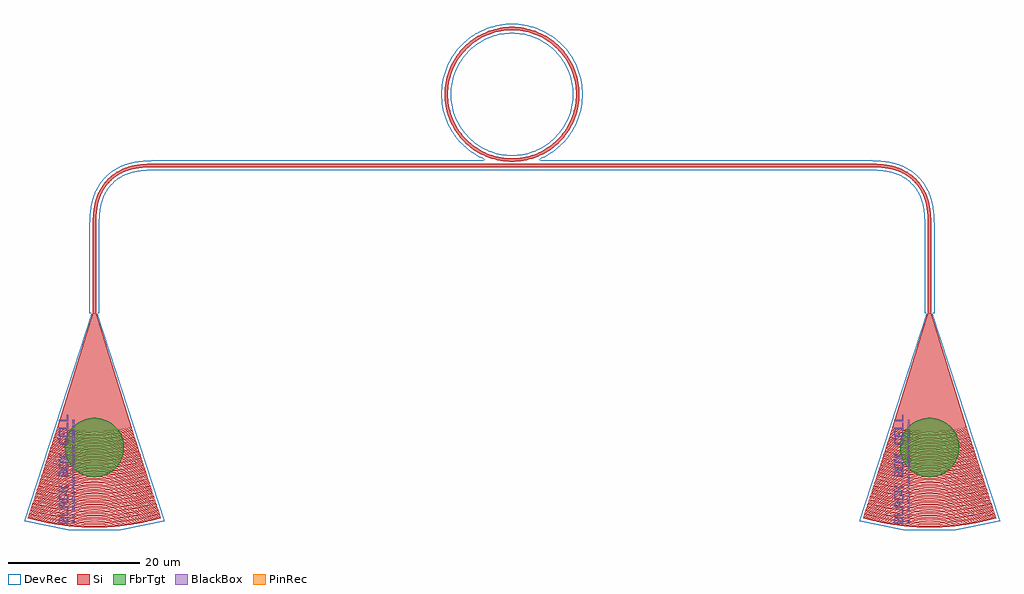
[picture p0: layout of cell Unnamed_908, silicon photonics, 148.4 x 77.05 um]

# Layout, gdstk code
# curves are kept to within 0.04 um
from math import pi, radians
import gdstk
lib = gdstk.Library(unit=1e-6, precision=1e-09)
def R(c, l, rs):  # rectangles x0, y0, x1, y1
    for r in rs: c.add(gdstk.rectangle(r[:2], r[2:], *l))
def P(c, l, *ps):  # polygons
    for p in ps: c.add(gdstk.Polygon(p, *l))
Si = (1, 0)
PinRec = (1, 10)
DevRec = (68, 0)
FbrTgt = (81, 0)
BlackBox = (998, 0)

unnamed_906 = lib.new_cell('Unnamed_906')
R(unnamed_906, Si, [(0,-0.25,20,0.25)])
P(unnamed_906, Si, [(10,0.55),(9.107,0.589),(7.781,0.793),(6.077,1.33),(4.493,2.155),(3.411,2.948),(2.752,3.552),(2.148,4.211),(1.355,5.293),(0.53,6.877),(-0.007,8.581),(-0.211,9.907),(-0.25,10.8),(-0.211,11.693),(-0.007,13.019),(0.53,14.723),(1.123,15.925),(1.604,16.679),(2.148,17.389),(3.075,18.357),(3.76,18.932),(4.875,19.677),(5.668,20.09),(6.841,20.55),(10,20.55),(8.727,20.467),(7.477,20.218),(6.269,19.808),(5.125,19.244),(4.408,18.787),(3.413,17.988),(2.531,17.067),(1.777,16.039),(1.163,14.921),(0.701,13.732),(0.398,12.493),(0.287,11.65),(0.259,10.375),(0.333,9.527),(0.582,8.277),(0.992,7.069),(1.556,5.925),(2.013,5.208),(2.812,4.213),(3.733,3.331),(4.761,2.577),(5.879,1.963),(7.068,1.501),(8.307,1.198),(9.575,1.059),(10.425,1.059),(11.693,1.198),(12.932,1.501),(14.121,1.963),(14.875,2.356),(15.935,3.065),(16.894,3.906),(17.987,5.208),(18.648,6.298),(19.299,7.868),(19.602,9.107),(19.741,10.375),(19.667,12.073),(19.418,13.323),(19.008,14.531),(18.223,16.039),(17.188,17.387),(16.267,18.269),(15.592,18.787),(14.121,19.637),(12.932,20.099),(11.273,20.467),(10,20.55),(6.841,20.55),(8.22,20.894),(10,21.05),(10.893,21.011),(12.219,20.807),(13.923,20.27),(15.507,19.445),(16.589,18.652),(17.248,18.048),(17.852,17.389),(18.645,16.307),(19.47,14.723),(20.007,13.019),(20.211,11.693),(20.25,10.8),(20.211,9.907),(20.007,8.581),(19.47,6.877),(18.645,5.293),(17.852,4.211),(17.248,3.552),(16.589,2.948),(15.507,2.155),(13.923,1.33),(12.219,0.793),(10.893,0.589)])
P(unnamed_906, DevRec, [(0,-0.75),(0,0.75),(6.189,0.75),(5.036,1.265),(3.834,1.994),(2.737,2.874),(2.074,3.537),(1.471,4.256),(0.69,5.425),(0.068,6.686),(-0.384,8.018),(-0.587,8.933),(-0.74,10.331),(-0.709,11.737),(-0.495,13.127),(-0.102,14.477),(0.257,15.343),(0.934,16.576),(1.765,17.71),(2.399,18.401),(3.09,19.035),(4.526,20.05),(10,20.05),(9.194,20.015),(7.998,19.831),(6.46,19.346),(5.375,18.811),(4.694,18.377),(3.459,17.341),(2.423,16.106),(1.989,15.425),(1.454,14.34),(1.065,13.194),(0.891,12.406),(0.785,11.606),(0.759,10.397),(0.829,9.593),(1.065,8.406),(1.454,7.26),(1.795,6.529),(2.661,5.169),(3.459,4.259),(4.054,3.714),(5.375,2.789),(6.46,2.254),(7.218,1.978),(7.998,1.769),(9.194,1.585),(10.806,1.585),(12.002,1.769),(12.782,1.978),(13.54,2.254),(14.625,2.789),(15.631,3.461),(16.249,3.98),(17.086,4.854),(17.577,5.494),(18.011,6.175),(18.546,7.26),(18.935,8.406),(19.171,9.593),(19.25,10.8),(19.215,11.606),(19.031,12.802),(18.822,13.582),(18.546,14.34),(18.011,15.425),(17.086,16.746),(16.541,17.341),(15.631,18.139),(14.625,18.811),(13.909,19.183),(12.394,19.735),(10.806,20.015),(4.526,20.05),(5.886,20.732),(6.767,21.052),(7.673,21.295),(8.597,21.458),(9.531,21.54),(10.937,21.509),(11.867,21.387),(12.782,21.184),(14.114,20.732),(15.375,20.11),(16.166,19.606),(16.91,19.035),(17.926,18.063),(18.806,16.966),(19.535,15.764),(20.102,14.477),(20.495,13.127),(20.709,11.737),(20.74,10.331),(20.587,8.933),(20.252,7.567),(19.743,6.257),(19.066,5.024),(18.235,3.89),(17.263,2.874),(16.166,1.994),(14.964,1.265),(13.811,0.75),(20,0.75),(20,-0.75)])

gc_te1550 = lib.new_cell('gc_te1550')
P(gc_te1550, Si, [(17.378,-5.646),(0,-0.25),(0,0.25),(17.378,5.646),(17.678,4.303),(17.903,2.893),(18.043,1.42),(18.087,0.114),(18.05,-1.306),(17.924,-2.724),(17.678,-4.303)],
  [(17.556,-5.704),(17.481,-5.68),(17.643,-5.006),(17.784,-4.329),(17.922,-3.536),(18.032,-2.74),(18.104,-2.056),(18.148,-1.486),(18.186,-0.686),(18.196,-0.114),(18.189,0.572),(18.165,1.2),(18.123,1.828),(18.058,2.512),(17.948,3.365),(17.826,4.102),(17.668,4.893),(17.481,5.68),(17.556,5.704),(17.743,4.914),(17.881,4.233),(18.016,3.437),(18.095,2.866),(18.165,2.237),(18.222,1.549),(18.256,0.918),(18.274,0.115),(18.264,-0.689),(18.233,-1.377),(18.176,-2.122),(18.095,-2.866),(18.016,-3.437),(17.881,-4.233),(17.743,-4.914)],
  [(17.906,-5.818),(17.659,-5.738),(17.932,-4.544),(18.188,-2.998),(18.338,-1.443),(18.383,-0.116),(18.338,1.443),(18.188,2.998),(17.932,4.544),(17.659,5.738),(17.906,5.818),(18.207,4.492),(18.452,2.982),(18.601,1.405),(18.643,0.117),(18.601,-1.405),(18.452,-2.982),(18.207,-4.492)],
  [(18.084,-5.876),(18.01,-5.852),(18.204,-5.041),(18.368,-4.227),(18.503,-3.409),(18.609,-2.589),(18.713,-1.354),(18.745,-0.589),(18.752,-0.118),(18.745,0.589),(18.713,1.354),(18.609,2.589),(18.503,3.409),(18.368,4.227),(18.204,5.041),(18.01,5.852),(18.084,5.876),(18.24,5.237),(18.4,4.479),(18.525,3.776),(18.629,3.071),(18.717,2.305),(18.772,1.656),(18.811,0.946),(18.83,0.118),(18.823,-0.592),(18.791,-1.36),(18.739,-2.069),(18.644,-2.953),(18.544,-3.658),(18.4,-4.479),(18.24,-5.237)],
  [(18.435,-5.99),(18.188,-5.91),(18.517,-4.445),(18.744,-3.029),(18.896,-1.427),(18.939,-0.119),(18.896,1.427),(18.759,2.911),(18.517,4.445),(18.188,5.91),(18.435,5.99),(18.77,4.506),(19.001,3.071),(19.135,1.748),(19.199,0.121),(19.159,-1.387),(19.001,-3.071),(18.77,-4.506)],
  [(18.613,-6.048),(18.539,-6.024),(18.713,-5.309),(18.876,-4.532),(19.013,-3.751),(19.131,-2.907),(19.203,-2.242),(19.264,-1.455),(19.291,-0.91),(19.308,-0.121),(19.299,0.667),(19.271,1.334),(19.239,1.819),(19.166,2.605),(19.076,3.329),(18.91,4.352),(18.753,5.13),(18.539,6.024),(18.613,6.048),(18.815,5.211),(18.963,4.49),(19.099,3.705),(19.201,2.979),(19.269,2.373),(19.338,1.522),(19.369,0.913),(19.386,0.122),(19.377,-0.67),(19.349,-1.339),(19.286,-2.191),(19.201,-2.979),(19.099,-3.705),(18.963,-4.49),(18.815,-5.211)],
  [(18.964,-6.162),(18.717,-6.081),(19.046,-4.636),(19.301,-3.057),(19.43,-1.775),(19.495,-0.122),(19.454,1.408),(19.301,3.057),(19.046,4.636),(18.717,6.081),(18.964,6.162),(19.262,4.881),(19.533,3.283),(19.689,1.799),(19.755,0.124),(19.717,-1.365),(19.573,-2.974),(19.334,-4.513)],
  [(19.142,-6.22),(19.068,-6.195),(19.289,-5.277),(19.44,-4.538),(19.587,-3.673),(19.696,-2.866),(19.772,-2.12),(19.822,-1.435),(19.853,-0.749),(19.864,-0.125),(19.853,0.749),(19.822,1.435),(19.772,2.12),(19.696,2.866),(19.587,3.673),(19.44,4.538),(19.289,5.277),(19.068,6.195),(19.142,6.22),(19.337,5.421),(19.48,4.742),(19.625,3.936),(19.726,3.251),(19.808,2.566),(19.884,1.691),(19.924,0.94),(19.942,0.125),(19.934,-0.626),(19.9,-1.44),(19.833,-2.316),(19.758,-3.002),(19.635,-3.874),(19.516,-4.556),(19.337,-5.421)],
  [(19.493,-6.334),(19.246,-6.253),(19.574,-4.829),(19.842,-3.207),(19.997,-1.637),(20.051,-0.126),(20.005,1.511),(19.866,3.019),(19.622,4.581),(19.246,6.253),(19.493,6.334),(19.839,4.829),(20.107,3.185),(20.256,1.658),(20.311,0.128),(20.268,-1.467),(20.107,-3.185),(19.839,-4.829)],
  [(19.671,-6.391),(19.597,-6.367),(19.797,-5.55),(20.005,-4.538),(20.153,-3.648),(20.246,-2.946),(20.325,-2.179),(20.373,-1.539),(20.404,-0.898),(20.42,-0.128),(20.412,0.641),(20.384,1.347),(20.336,2.051),(20.261,2.819),(20.153,3.648),(20.017,4.474),(19.825,5.424),(19.597,6.367),(19.671,6.391),(19.843,5.697),(20.008,4.937),(20.149,4.173),(20.283,3.278),(20.379,2.444),(20.438,1.738),(20.482,0.901),(20.498,0.129),(20.482,-0.901),(20.438,-1.738),(20.379,-2.444),(20.283,-3.278),(20.149,-4.173),(20.008,-4.937),(19.843,-5.697)],
  [(20.022,-6.505),(19.774,-6.425),(20.139,-4.835),(20.382,-3.36),(20.542,-1.812),(20.607,-0.129),(20.567,1.424),(20.399,3.231),(20.139,4.835),(19.774,6.425),(20.022,6.505),(20.392,4.896),(20.656,3.272),(20.81,1.704),(20.867,0.131),(20.81,-1.704),(20.656,-3.272),(20.392,-4.896)],
  [(20.199,-6.563),(20.125,-6.539),(20.347,-5.635),(20.523,-4.791),(20.67,-3.943),(20.804,-2.961),(20.878,-2.239),(20.923,-1.647),(20.962,-0.857),(20.976,-0.132),(20.966,0.725),(20.935,1.449),(20.878,2.239),(20.804,2.961),(20.67,3.943),(20.523,4.791),(20.347,5.635),(20.125,6.539),(20.199,6.563),(20.437,5.591),(20.599,4.809),(20.726,4.089),(20.832,3.367),(20.931,2.511),(20.992,1.785),(21.04,0.86),(21.054,0.132),(21.044,-0.728),(21.001,-1.653),(20.931,-2.511),(20.849,-3.235),(20.726,-4.089),(20.599,-4.809),(20.437,-5.591)],
  [(20.55,-6.677),(20.303,-6.597),(20.705,-4.833),(20.957,-3.252),(21.105,-1.728),(21.163,-0.133),(21.105,1.728),(20.957,3.252),(20.705,4.833),(20.303,6.597),(20.55,6.677),(20.906,5.158),(21.205,3.359),(21.355,1.883),(21.423,0.135),(21.373,-1.615),(21.205,-3.359),(20.906,-5.158)],
  [(20.728,-6.735),(20.654,-6.711),(20.868,-5.85),(21.025,-5.118),(21.195,-4.181),(21.33,-3.241),(21.412,-2.5),(21.473,-1.758),(21.515,-0.947),(21.532,-0.135),(21.525,0.609),(21.497,1.352),(21.448,2.095),(21.37,2.904),(21.237,3.913),(21.077,4.85),(20.868,5.85),(20.654,6.711),(20.728,6.735),(20.912,6.004),(21.101,5.136),(21.249,4.331),(21.372,3.523),(21.483,2.577),(21.546,1.832),(21.593,0.95),(21.61,0.136),(21.593,-0.95),(21.555,-1.696),(21.483,-2.577),(21.39,-3.388),(21.249,-4.331),(21.101,-5.136),(20.912,-6.004)],
  [(21.079,-6.849),(20.832,-6.769),(21.207,-5.162),(21.47,-3.608),(21.664,-1.705),(21.719,-0.136),(21.664,1.705),(21.515,3.269),(21.207,5.162),(20.832,6.769),(21.079,6.849),(21.432,5.359),(21.736,3.583),(21.923,1.725),(21.979,0.138),(21.923,-1.725),(21.772,-3.308),(21.473,-5.155)],
  [(21.257,-6.907),(21.183,-6.883),(21.419,-5.932),(21.606,-5.044),(21.773,-4.083),(21.888,-3.256),(21.971,-2.495),(22.036,-1.665),(22.073,-0.902),(22.088,-0.139),(22.081,0.624),(22.052,1.387),(22.001,2.149),(21.905,3.117),(21.773,4.083),(21.606,5.044),(21.419,5.932),(21.183,6.883),(21.257,6.907),(21.494,5.953),(21.655,5.199),(21.817,4.304),(21.93,3.544),(22.042,2.574),(22.105,1.81),(22.146,1.044),(22.166,0.139),(22.159,-0.627),(22.114,-1.67),(22.042,-2.574),(21.957,-3.336),(21.817,-4.304),(21.655,-5.199),(21.494,-5.953)],
  [(21.608,-7.021),(21.361,-6.941),(21.761,-5.224),(22.028,-3.631),(22.218,-1.749),(22.275,-0.14),(22.227,1.609),(22.073,3.283),(21.788,5.086),(21.361,6.941),(21.608,7.021),(21.985,5.425),(22.294,3.603),(22.482,1.698),(22.535,0.142),(22.482,-1.698),(22.294,-3.603),(21.985,-5.425)],
  [(21.786,-7.079),(21.712,-7.055),(21.922,-6.22),(22.161,-5.1),(22.308,-4.256),(22.447,-3.267),(22.53,-2.487),(22.586,-1.778),(22.626,-0.996),(22.644,-0.142),(22.635,0.711),(22.595,1.635),(22.53,2.487),(22.447,3.267),(22.308,4.256),(22.161,5.1),(21.922,6.22),(21.712,7.055),(21.786,7.079),(21.964,6.381),(22.167,5.469),(22.302,4.765),(22.469,3.704),(22.565,2.923),(22.649,1.997),(22.704,0.999),(22.722,0.143),(22.713,-0.714),(22.677,-1.57),(22.601,-2.567),(22.488,-3.562),(22.374,-4.341),(22.195,-5.329),(22.03,-6.101)],
  [(22.137,-7.193),(21.89,-7.112),(22.287,-5.425),(22.596,-3.579),(22.777,-1.721),(22.831,-0.143),(22.777,1.721),(22.596,3.579),(22.287,5.425),(21.89,7.112),(22.137,7.193),(22.54,5.486),(22.843,3.692),(23.011,2.102),(23.091,0.145),(23.045,-1.595),(22.862,-3.547),(22.54,-5.486)],
  [(22.315,-7.25),(22.24,-7.226),(22.457,-6.372),(22.646,-5.512),(22.843,-4.432),(22.979,-3.492),(23.076,-2.621),(23.145,-1.748),(23.184,-0.947),(23.2,-0.146),(23.194,0.583),(23.158,1.53),(23.102,2.33),(23.006,3.274),(22.899,4.071),(22.73,5.081),(22.507,6.157),(22.24,7.226),(22.315,7.25),(22.549,6.321),(22.736,5.458),(22.895,4.592),(23.047,3.576),(23.139,2.776),(23.218,1.827),(23.262,0.951),(23.278,0.146),(23.262,-0.951),(23.218,-1.827),(23.139,-2.776),(23.047,-3.576),(22.895,-4.592),(22.736,-5.458),(22.549,-6.321)],
  [(22.666,-7.364),(22.418,-7.284),(22.842,-5.484),(23.145,-3.666),(23.311,-2.056),(23.387,-0.147),(23.336,1.689),(23.145,3.666),(22.842,5.484),(22.418,7.284),(22.666,7.364),(23.095,5.545),(23.392,3.78),(23.581,1.93),(23.647,0.149),(23.586,-1.856),(23.421,-3.559),(23.095,-5.545)],
  [(22.843,-7.422),(22.769,-7.398),(22.992,-6.523),(23.201,-5.57),(23.389,-4.538),(23.538,-3.501),(23.642,-2.535),(23.704,-1.716),(23.742,-0.895),(23.756,-0.149),(23.742,0.895),(23.704,1.716),(23.642,2.535),(23.565,3.278),(23.401,4.464),(23.23,5.423),(22.992,6.523),(22.769,7.398),(22.843,7.422),(23.067,6.545),(23.262,5.662),(23.441,4.701),(23.556,3.959),(23.691,2.842),(23.762,2.02),(23.815,1.048),(23.834,0.15),(23.82,-0.898),(23.782,-1.721),(23.713,-2.618),(23.606,-3.587),(23.441,-4.701),(23.277,-5.588),(23.067,-6.545)],
  [(23.194,-7.536),(22.947,-7.456),(23.368,-5.688),(23.684,-3.827),(23.876,-1.955),(23.943,-0.15),(23.886,1.804),(23.704,3.678),(23.383,5.614),(22.947,7.456),(23.194,7.536),(23.605,5.824),(23.951,3.793),(24.135,1.976),(24.203,0.152),(24.15,-1.748),(23.961,-3.718),(23.605,-5.824)],
  [(23.372,-7.594),(23.298,-7.57),(23.562,-6.525),(23.801,-5.399),(23.971,-4.417),(24.088,-3.583),(24.188,-2.67),(24.249,-1.908),(24.295,-0.993),(24.312,-0.153),(24.3,0.84),(24.263,1.68),(24.195,2.594),(24.088,3.583),(23.971,4.417),(23.801,5.399),(23.562,6.525),(23.298,7.57),(23.372,7.594),(23.602,6.696),(23.802,5.793),(23.96,4.962),(24.115,3.975),(24.219,3.137),(24.316,2.067),(24.373,0.996),(24.39,0.153),(24.373,-0.996),(24.316,-2.067),(24.219,-3.137),(24.115,-3.975),(23.96,-4.962),(23.802,-5.793),(23.602,-6.696)],
  [(23.723,-7.708),(23.476,-7.628),(23.908,-5.819),(24.233,-3.916),(24.43,-2),(24.499,-0.154),(24.43,2),(24.233,3.916),(23.908,5.819),(23.476,7.628),(23.723,7.708),(24.145,5.957),(24.479,4.035),(24.678,2.176),(24.759,0.156),(24.709,-1.71),(24.5,-3.88),(24.145,-5.957)],
  [(23.901,-7.766),(23.827,-7.742),(24.098,-6.674),(24.313,-5.676),(24.493,-4.672),(24.638,-3.665),(24.733,-2.809),(24.803,-1.952),(24.848,-1.094),(24.868,-0.156),(24.858,0.781),(24.818,1.718),(24.733,2.809),(24.638,3.665),(24.493,4.672),(24.313,5.676),(24.098,6.674),(23.827,7.742),(23.901,7.766),(24.137,6.848),(24.358,5.848),(24.518,4.997),(24.674,3.987),(24.779,3.13),(24.87,2.115),(24.916,1.332),(24.946,0.157),(24.931,-0.94),(24.891,-1.802),(24.803,-2.896),(24.695,-3.832),(24.531,-4.92),(24.358,-5.848),(24.137,-6.848)],
  [(24.252,-7.88),(24.005,-7.8),(24.464,-5.873),(24.782,-4.005),(24.973,-2.202),(25.055,-0.157),(25.009,1.652),(24.803,3.848),(24.464,5.873),(24.005,7.8),(24.252,7.88),(24.717,5.934),(25.049,3.967),(25.232,2.225),(25.315,0.159),(25.259,-1.828),(25.07,-3.809),(24.717,-5.934)],
  [(24.43,-7.938),(24.356,-7.914),(24.634,-6.822),(24.839,-5.881),(25,-5.014),(25.178,-3.826),(25.278,-2.952),(25.352,-2.075),(25.397,-1.278),(25.424,-0.16),(25.409,0.958),(25.377,1.677),(25.293,2.792),(25.198,3.667),(25.052,4.697),(24.839,5.881),(24.634,6.822),(24.356,7.914),(24.43,7.938),(24.709,6.843),(24.866,6.135),(25.049,5.187),(25.234,3.997),(25.339,3.12),(25.424,2.162),(25.478,1.202),(25.502,0.16),(25.489,-0.881),(25.435,-2.002),(25.339,-3.12),(25.234,-3.997),(25.049,-5.187),(24.866,-6.135),(24.709,-6.843)],
  [(24.781,-8.052),(24.533,-7.971),(24.972,-6.161),(25.308,-4.253),(25.544,-2.01),(25.611,-0.161),(25.544,2.01),(25.352,3.934),(25.021,5.924),(24.533,7.971),(24.781,8.052),(25.241,6.144),(25.576,4.216),(25.803,2.031),(25.871,0.163),(25.803,-2.031),(25.609,-3.974),(25.274,-5.984)],
  [(24.959,-8.11),(24.884,-8.085),(25.15,-7.051),(25.38,-6.009),(25.572,-4.961),(25.738,-3.828),(25.846,-2.853),(25.917,-1.958),(25.967,-0.898),(25.98,-0.163),(25.967,0.898),(25.932,1.713),(25.868,2.609),(25.768,3.585),(25.624,4.638),(25.412,5.848),(25.207,6.811),(24.884,8.085),(24.959,8.11),(25.187,7.232),(25.423,6.188),(25.635,5.057),(25.772,4.165),(25.891,3.188),(25.984,2.127),(26.03,1.31),(26.058,0.164),(26.045,-0.9),(25.995,-1.964),(25.891,-3.188),(25.794,-4.002),(25.635,-5.057),(25.423,-6.188),(25.187,-7.232)],
  [(25.31,-8.224),(25.062,-8.143),(25.512,-6.295),(25.868,-4.264),(26.098,-2.054),(26.167,-0.164),(26.123,1.644),(25.923,3.856),(25.562,6.052),(25.062,8.143),(25.31,8.224),(25.815,6.112),(26.136,4.224),(26.357,2.074),(26.427,0.166),(26.368,-1.909),(26.18,-3.894),(25.815,-6.112)],
  [(25.487,-8.281),(25.413,-8.257),(25.686,-7.201),(25.921,-6.137),(26.118,-5.067),(26.288,-3.91),(26.374,-3.164),(26.466,-2.083),(26.511,-1.25),(26.536,-0.167),(26.525,0.834),(26.482,1.833),(26.406,2.831),(26.288,3.91),(26.118,5.067),(25.921,6.137),(25.686,7.201),(25.413,8.257),(25.487,8.281),(25.761,7.222),(25.946,6.402),(26.152,5.33),(26.321,4.254),(26.451,3.173),(26.532,2.256),(26.589,1.254),(26.614,0.167),(26.598,-1.003),(26.538,-2.172),(26.451,-3.173),(26.321,-4.254),(26.152,-5.33),(25.946,-6.402),(25.761,-7.222)],
  [(25.838,-8.395),(25.591,-8.315),(26.086,-6.263),(26.44,-4.188),(26.658,-2.014),(26.723,-0.168),(26.658,2.014),(26.44,4.188),(26.086,6.263),(25.591,8.315),(25.838,8.395),(26.339,6.323),(26.685,4.312),(26.887,2.456),(26.983,0.17),(26.917,-2.033),(26.708,-4.144),(26.356,-6.24)],
  [(26.016,-8.453),(25.942,-8.429),(26.261,-7.184),(26.479,-6.181),(26.664,-5.173),(26.838,-3.992),(26.943,-3.06),(27.026,-2.042),(27.078,-0.936),(27.092,-0.085),(27.078,0.936),(27.026,2.042),(26.943,3.06),(26.838,3.992),(26.664,5.173),(26.479,6.181),(26.261,7.184),(25.942,8.429),(26.016,8.453),(26.256,7.539),(26.503,6.451),(26.697,5.441),(26.858,4.427),(26.976,3.494),(27.086,2.303),(27.144,1.28),(27.17,0.085),(27.156,-0.939),(27.098,-2.133),(27.012,-3.154),(26.893,-4.173),(26.726,-5.272),(26.538,-6.283),(26.256,-7.539)],
  [(26.367,-8.567),(26.12,-8.487),(26.644,-6.308),(26.989,-4.275),(27.218,-1.97),(27.279,-0.086),(27.218,1.97),(26.989,4.275),(26.644,6.308),(26.12,8.487),(26.367,8.567),(26.897,6.368),(27.246,4.315),(27.466,2.162),(27.539,0.087),(27.466,-2.162),(27.246,-4.315),(26.897,-6.368)],
  [(26.545,-8.625),(26.471,-8.601),(26.777,-7.416),(27.003,-6.393),(27.195,-5.365),(27.365,-4.246),(27.487,-3.209),(27.586,-1.997),(27.634,-0.955),(27.648,-0.087),(27.634,0.955),(27.586,1.997),(27.52,2.863),(27.42,3.815),(27.265,4.935),(27.071,6.051),(26.817,7.246),(26.63,8.01),(26.471,8.601),(26.545,8.625),(26.832,7.522),(27.079,6.411),(27.286,5.294),(27.442,4.258),(27.573,3.132),(27.658,2.089),(27.712,0.958),(27.726,0.087),(27.712,-0.958),(27.658,-2.089),(27.573,-3.132),(27.442,-4.258),(27.286,-5.294),(27.079,-6.411),(26.832,-7.522)],
  [(26.896,-8.739),(26.649,-8.659),(27.185,-6.436),(27.55,-4.275),(27.761,-2.185),(27.835,-0.087),(27.761,2.185),(27.55,4.275),(27.185,6.436),(26.649,8.659),(26.896,8.739),(27.402,6.67),(27.783,4.49),(28.014,2.293),(28.095,0.088),(28.026,-2.117),(27.807,-4.315),(27.438,-6.496)],
  [(27.074,-8.797),(27,-8.773),(27.292,-7.651),(27.544,-6.521),(27.77,-5.297),(27.949,-4.067),(28.048,-3.186),(28.129,-2.214),(28.184,-1.152),(28.204,-0.089),(28.187,1.063),(28.146,1.948),(28.073,2.921),(27.949,4.067),(27.77,5.297),(27.544,6.521),(27.292,7.651),(27,8.773),(27.074,8.797),(27.346,7.759),(27.602,6.627),(27.802,5.576),(27.955,4.608),(28.098,3.46),(28.194,2.397),(28.255,1.332),(28.282,0.089),(28.265,-1.066),(28.218,-2.042),(28.134,-3.106),(28.015,-4.167),(27.832,-5.4),(27.62,-6.539),(27.346,-7.759)],
  [(27.425,-8.911),(27.177,-8.83),(27.708,-6.652),(28.075,-4.537),(28.309,-2.317),(28.391,-0.089),(28.309,2.317),(28.075,4.537),(27.708,6.652),(27.177,8.83),(27.425,8.911),(27.979,6.624),(28.344,4.489),(28.568,2.339),(28.651,0.09),(28.568,-2.339),(28.344,-4.489),(27.979,-6.624)],
  [(27.603,-8.969),(27.528,-8.944),(27.806,-7.889),(28.085,-6.649),(28.316,-5.402),(28.476,-4.327),(28.582,-3.428),(28.677,-2.348),(28.736,-1.265),(28.76,-0.09),(28.748,0.903),(28.695,2.077),(28.609,3.158),(28.499,4.147),(28.331,5.312),(28.121,6.472),(27.87,7.624),(27.528,8.944),(27.603,8.969),(27.881,7.91),(28.124,6.845),(28.347,5.685),(28.529,4.518),(28.678,3.257),(28.761,2.264),(28.814,1.268),(28.838,0.091),(28.826,-0.906),(28.761,-2.264),(28.678,-3.257),(28.529,-4.518),(28.347,-5.685),(28.124,-6.845),(27.881,-7.91)],
  [(27.953,-9.083),(27.706,-9.002),(28.23,-6.871),(28.624,-4.626),(28.863,-2.363),(28.947,-0.091),(28.887,2),(28.649,4.445),(28.23,6.871),(27.706,9.002),(27.953,9.083),(28.52,6.752),(28.893,4.576),(29.135,2.201),(29.207,0.092),(29.135,-2.201),(28.918,-4.394),(28.52,-6.752)],
  [(28.131,-9.14),(28.057,-9.116),(28.363,-7.951),(28.663,-6.596),(28.892,-5.323),(29.061,-4.136),(29.179,-3.036),(29.255,-2.025),(29.301,-1.013),(29.316,-0.092),(29.301,1.013),(29.255,2.025),(29.179,3.036),(29.061,4.136),(28.892,5.323),(28.663,6.596),(28.363,7.951),(28.057,9.116),(28.131,9.14),(28.416,8.062),(28.645,7.068),(28.86,5.977),(29.078,4.605),(29.221,3.412),(29.315,2.307),(29.373,1.2),(29.394,0.092),(29.373,-1.2),(29.315,-2.307),(29.221,-3.412),(29.078,-4.605),(28.86,-5.977),(28.645,-7.068),(28.416,-8.062)],
  [(28.482,-9.254),(28.235,-9.174),(28.77,-7.003),(29.173,-4.714),(29.424,-2.316),(29.503,-0.093),(29.424,2.316),(29.173,4.714),(28.77,7.003),(28.235,9.174),(28.482,9.254),(29.003,7.156),(29.416,4.849),(29.683,2.336),(29.763,0.094),(29.683,-2.336),(29.455,-4.57),(29.042,-6.972)],
  [(28.66,-9.312),(28.586,-9.288),(28.898,-8.101),(29.148,-6.998),(29.393,-5.703),(29.563,-4.587),(29.696,-3.467),(29.798,-2.251),(29.847,-1.314),(29.872,-0.094),(29.862,0.845),(29.798,2.251),(29.696,3.467),(29.563,4.587),(29.393,5.703),(29.148,6.998),(28.898,8.101),(28.586,9.288),(28.66,9.312),(28.928,8.306),(29.224,7.016),(29.421,5.996),(29.601,4.879),(29.733,3.851),(29.863,2.445),(29.925,1.317),(29.95,0.094),(29.937,-0.941),(29.882,-2.163),(29.792,-3.289),(29.64,-4.599),(29.437,-5.904),(29.224,-7.016),(28.928,-8.306)],
  [(29.011,-9.426),(28.764,-9.346),(29.33,-7.041),(29.735,-4.709),(29.978,-2.359),(30.059,-0.094),(29.978,2.359),(29.735,4.709),(29.33,7.041),(28.764,9.346),(29.011,9.426),(29.563,7.196),(29.965,4.939),(30.237,2.38),(30.319,0.095),(30.25,-2.19),(30.017,-4.561),(29.602,-7.008)],
  [(29.189,-9.484),(29.115,-9.46),(29.456,-8.158),(29.708,-7.034),(29.97,-5.62),(30.125,-4.577),(30.248,-3.532),(30.346,-2.388),(30.406,-1.242),(30.428,-0.096),(30.406,1.242),(30.346,2.388),(30.248,3.532),(30.125,4.577),(29.97,5.62),(29.708,7.034),(29.456,8.158),(29.115,9.46),(29.189,9.484),(29.554,8.085),(29.784,7.052),(29.999,5.918),(30.163,4.874),(30.295,3.827),(30.417,2.49),(30.484,1.246),(30.506,0.096),(30.484,-1.246),(30.417,-2.49),(30.295,-3.827),(30.163,-4.874),(29.999,-5.918),(29.784,-7.052),(29.554,-8.085)],
  [(29.54,-9.598),(29.293,-9.518),(29.89,-7.077),(30.284,-4.796),(30.539,-2.307),(30.615,-0.096),(30.539,2.307),(30.284,4.796),(29.89,7.077),(29.293,9.518),(29.54,9.598),(30.143,7.137),(30.554,4.741),(30.798,2.327),(30.875,0.097),(30.798,-2.327),(30.554,-4.741),(30.143,-7.137)],
  [(29.718,-9.656),(29.643,-9.632),(29.969,-8.401),(30.269,-7.066),(30.501,-5.818),(30.7,-4.468),(30.829,-3.306),(30.907,-2.335),(30.965,-1.168),(30.984,-0.097),(30.965,1.168),(30.907,2.335),(30.829,3.306),(30.7,4.468),(30.501,5.818),(30.269,7.066),(29.969,8.401),(29.643,9.632),(29.718,9.656),(29.997,8.613),(30.285,7.371),(30.493,6.315),(30.712,4.963),(30.857,3.8),(30.964,2.633),(31.036,1.366),(31.062,0.098),(31.046,-1.073),(30.991,-2.243),(30.897,-3.411),(30.752,-4.673),(30.561,-5.929),(30.345,-7.084),(30.044,-8.422)],
  [(30.069,-9.77),(29.821,-9.69),(30.411,-7.301),(30.833,-4.883),(31.093,-2.349),(31.171,-0.098),(31.093,2.349),(30.833,4.883),(30.411,7.301),(29.821,9.69),(30.069,9.77),(30.664,7.362),(31.09,4.924),(31.346,2.467),(31.431,0.099),(31.346,-2.467),(31.09,-4.924),(30.664,-7.362)],
  [(30.246,-9.828),(30.172,-9.804),(30.528,-8.455),(30.77,-7.387),(30.907,-6.705),(31.047,-5.922),(31.211,-4.843),(31.342,-3.759),(31.461,-2.377),(31.517,-1.288),(31.54,-0.099),(31.529,0.892),(31.474,2.179),(31.391,3.266),(31.25,4.548),(31.047,5.922),(30.83,7.095),(30.528,8.455),(30.172,9.804),(30.246,9.828),(30.603,8.475),(30.866,7.308),(31.107,6.035),(31.288,4.855),(31.43,3.67),(31.539,2.382),(31.595,1.291),(31.618,0.099),(31.595,-1.291),(31.539,-2.382),(31.43,-3.67),(31.288,-4.855),(31.107,-6.035),(30.866,-7.308),(30.603,-8.475)],
  [(30.597,-9.942),(30.35,-9.861),(30.931,-7.529),(31.396,-4.872),(31.641,-2.49),(31.727,-0.1),(31.641,2.49),(31.396,4.872),(30.931,7.529),(30.35,9.861),(30.597,9.942),(31.225,7.393),(31.625,5.111),(31.893,2.611),(31.987,0.1),(31.907,-2.41),(31.653,-4.911),(31.225,-7.393)],
  [(30.775,-9.999),(30.701,-9.975),(31.015,-8.8),(31.18,-8.11),(31.352,-7.319),(31.593,-6.027),(31.774,-4.828),(31.915,-3.625),(32.009,-2.519),(32.069,-1.411),(32.096,-0.101),(32.076,1.21),(32.009,2.519),(31.915,3.625),(31.774,4.828),(31.593,6.027),(31.352,7.319),(31.18,8.11),(31.015,8.8),(30.701,9.975),(30.775,9.999),(31.09,8.821),(31.344,7.734),(31.564,6.64),(31.795,5.241),(31.95,4.036),(32.072,2.727),(32.129,1.819),(32.154,1.213),(32.174,0.101),(32.154,-1.213),(32.1,-2.323),(32.012,-3.432),(31.851,-4.84),(31.686,-5.941),(31.428,-7.337),(31.139,-8.624)],
  [(31.126,-10.114),(30.879,-10.033),(31.471,-7.66),(31.917,-5.158),(32.188,-2.635),(32.283,-0.101),(32.202,2.433),(31.959,4.856),(31.534,7.361),(31.244,8.653),(30.879,10.033),(31.126,10.114),(31.724,7.722),(32.174,5.199),(32.447,2.656),(32.543,0.102),(32.519,-1.329),(32.447,-2.656),(32.174,-5.199),(31.724,-7.722)])
R(gc_te1550, PinRec, [(-0.05,-0.25,0.05,0.25)])
P(gc_te1550, DevRec, [(31.6,-10.7),(0,-0.4),(0,0.4),(31.6,10.7),(33,4),(33,-4)])
P(gc_te1550, FbrTgt, [(20.179,-4.5),(19.305,-4.37),(18.474,-4.073),(17.716,-3.619),(17.062,-3.026),(16.536,-2.316),(16.158,-1.518),(15.943,-0.661),(15.9,0.221),(16.03,1.095),(16.327,1.926),(16.781,2.684),(17.374,3.338),(18.084,3.864),(18.882,4.242),(19.739,4.457),(20.621,4.5),(21.495,4.37),(22.326,4.073),(23.084,3.619),(23.738,3.026),(24.264,2.316),(24.642,1.518),(24.857,0.661),(24.9,-0.221),(24.77,-1.095),(24.473,-1.926),(24.019,-2.684),(23.426,-3.338),(22.716,-3.864),(21.918,-4.242),(21.061,-4.457)])
P(gc_te1550, BlackBox, [(16.2,-5.4),(16.2,-4.2),(15.4,-4.2),(15.4,-4),(16.4,-4),(16.4,-5.4)],
  [(17.4,-5.4),(17.4,-4.2),(16.6,-4.2),(16.6,-4),(17.6,-4),(17.6,-5.4)],
  [(17.8,-5.4),(17.8,-5.2),(18.6,-5.2),(18.6,-4.8),(18.2,-4.8),(18.2,-4.6),(18.6,-4.6),(18.6,-4.2),(17.8,-4.2),(17.8,-4),(18.8,-4),(18.8,-5.4)],
  [(19.2,-5.4),(19,-5.2),(19,-5),(19.2,-5),(19.2,-5.1),(19.3,-5.2),(19.7,-5.2),(19.8,-5.1),(19.8,-4.3),(19.7,-4.2),(19.3,-4.2),(19.2,-4.3),(19.2,-4.4),(19,-4.4),(19,-4.2),(19.2,-4),(19.8,-4),(20,-4.2),(20,-5.2),(19.8,-5.4)],
  [(21.4,-5.4),(21.4,-5.1),(21.7,-4.8),(21.7,-4.6),(21.4,-4.3),(21.4,-4),(21.6,-4),(21.6,-4.2),(21.9,-4.5),(22.2,-4.2),(22.2,-4),(22.4,-4),(22.4,-4.3),(22.1,-4.6),(22.1,-4.8),(22.4,-5.1),(22.4,-5.4),(22.2,-5.4),(22.2,-5.2),(21.9,-4.9),(21.6,-5.2),(21.6,-5.4)],
  [(22.8,-5.4),(22.6,-5.2),(22.6,-4.2),(22.9,-4.2),(22.8,-4.3),(22.8,-5.1),(22.9,-5.2),(23.3,-5.2),(23.4,-5.1),(23.4,-4.3),(23.3,-4.2),(22.6,-4.2),(22.8,-4),(23.4,-4),(23.6,-4.2),(23.6,-5.2),(23.4,-5.4)],
  [(24,-5.4),(23.8,-5.2),(23.8,-4.8),(24.1,-4.8),(24,-4.9),(24,-5.1),(24.1,-5.2),(24.6,-5.2),(24.6,-4.8),(23.8,-4.8),(23.9,-4.7),(23.8,-4.6),(23.8,-4.2),(24.1,-4.2),(24,-4.3),(24,-4.5),(24.1,-4.6),(24.6,-4.6),(24.6,-4.2),(23.8,-4.2),(24,-4),(24.8,-4),(24.8,-5.4)],
  [(26.2,-5.4),(26.2,-5.1),(26.6,-4.7),(26.2,-4.3),(26.2,-4),(26.4,-4),(26.4,-4.2),(26.8,-4.6),(27,-4.6),(27,-4),(27.2,-4),(27.2,-5.4),(27,-5.4),(27,-4.8),(26.8,-4.8),(26.4,-5.2),(26.4,-5.4)],
  [(27.6,-5.4),(27.4,-5.2),(27.4,-5),(27.6,-5),(27.6,-5.1),(27.7,-5.2),(28.1,-5.2),(28.2,-5.1),(28.2,-4.3),(28.1,-4.2),(27.7,-4.2),(27.6,-4.3),(27.6,-4.4),(27.4,-4.4),(27.4,-4.2),(27.6,-4),(28.2,-4),(28.4,-4.2),(28.4,-5.2),(28.2,-5.4)],
  [(28.9,-5.4),(28.6,-5.1),(28.6,-4.7),(28.8,-4.7),(28.8,-5),(29,-5.2),(29.2,-5.2),(29.4,-5),(29.4,-4.7),(28.6,-4.7),(28.6,-4),(28.8,-4),(28.8,-4.5),(29.4,-4.5),(29.4,-4),(29.6,-4),(29.6,-5.1),(29.3,-5.4)],
  [(30.6,-5.4),(30.6,-4.2),(29.8,-4.2),(29.8,-4),(30.8,-4),(30.8,-5.4)],
  [(31.2,-5.4),(31,-5.2),(31,-4.8),(31.3,-4.8),(31.2,-4.9),(31.2,-5.1),(31.3,-5.2),(31.8,-5.2),(31.8,-4.8),(31,-4.8),(31.1,-4.7),(31,-4.6),(31,-4.2),(31.3,-4.2),(31.2,-4.3),(31.2,-4.5),(31.3,-4.6),(31.8,-4.6),(31.8,-4.2),(31,-4.2),(31.2,-4),(32,-4),(32,-5.4)],
  [(16.2,-3.35),(16.15,-3.3),(16.15,-3.25),(16.2,-3.25),(16.2,-3.275),(16.225,-3.3),(16.325,-3.3),(16.35,-3.275),(16.35,-3.225),(16.325,-3.2),(16.2,-3.2),(16.15,-3.15),(16.15,-3.05),(16.2,-3),(16.35,-3),(16.4,-3.05),(16.4,-3.1),(16.35,-3.1),(16.35,-3.075),(16.325,-3.05),(16.225,-3.05),(16.2,-3.075),(16.2,-3.125),(16.225,-3.15),(16.35,-3.15),(16.4,-3.2),(16.4,-3.3),(16.35,-3.35)],
  [(16.525,-3.35),(16.45,-3.275),(16.45,-3.175),(16.5,-3.175),(16.5,-3.25),(16.55,-3.3),(16.6,-3.3),(16.65,-3.25),(16.65,-3.175),(16.45,-3.175),(16.45,-3),(16.5,-3),(16.5,-3.125),(16.65,-3.125),(16.65,-3),(16.7,-3),(16.7,-3.275),(16.625,-3.35)],
  [(16.825,-3.35),(16.825,-3.3),(16.85,-3.3),(16.85,-3.05),(16.825,-3.05),(16.825,-3),(16.925,-3),(16.925,-3.05),(16.9,-3.05),(16.9,-3.3),(16.925,-3.3),(16.925,-3.35)],
  [(17.1,-3.35),(17.05,-3.3),(17.05,-3.2),(17.125,-3.2),(17.1,-3.225),(17.1,-3.275),(17.125,-3.3),(17.25,-3.3),(17.25,-3.2),(17.05,-3.2),(17.075,-3.175),(17.05,-3.15),(17.05,-3.05),(17.125,-3.05),(17.1,-3.075),(17.1,-3.125),(17.125,-3.15),(17.25,-3.15),(17.25,-3.05),(17.05,-3.05),(17.1,-3),(17.3,-3),(17.3,-3.35)],
  [(17.7,-3.35),(17.65,-3.3),(17.65,-3.25),(17.7,-3.25),(17.7,-3.275),(17.725,-3.3),(17.825,-3.3),(17.85,-3.275),(17.85,-3.225),(17.825,-3.2),(17.7,-3.2),(17.65,-3.15),(17.65,-3.05),(17.7,-3),(17.85,-3),(17.9,-3.05),(17.9,-3.1),(17.85,-3.1),(17.85,-3.075),(17.825,-3.05),(17.725,-3.05),(17.7,-3.075),(17.7,-3.125),(17.725,-3.15),(17.85,-3.15),(17.9,-3.2),(17.9,-3.3),(17.85,-3.35)],
  [(18,-3.35),(17.95,-3.3),(17.95,-3.25),(18,-3.25),(18,-3.275),(18.025,-3.3),(18.125,-3.3),(18.15,-3.275),(18.15,-3.225),(18.125,-3.2),(18,-3.2),(17.95,-3.15),(17.95,-3.05),(18,-3),(18.15,-3),(18.2,-3.05),(18.2,-3.1),(18.15,-3.1),(18.15,-3.075),(18.125,-3.05),(18.025,-3.05),(18,-3.075),(18,-3.125),(18.025,-3.15),(18.15,-3.15),(18.2,-3.2),(18.2,-3.3),(18.15,-3.35)],
  [(18.25,-3.35),(18.25,-3.3),(18.45,-3.3),(18.45,-3.2),(18.35,-3.2),(18.35,-3.15),(18.45,-3.15),(18.45,-3.05),(18.25,-3.05),(18.25,-3),(18.5,-3),(18.5,-3.35)],
  [(18.6,-3.35),(18.55,-3.3),(18.55,-3.25),(18.6,-3.25),(18.6,-3.275),(18.625,-3.3),(18.725,-3.3),(18.75,-3.275),(18.75,-3.075),(18.725,-3.05),(18.625,-3.05),(18.6,-3.075),(18.6,-3.1),(18.55,-3.1),(18.55,-3.05),(18.6,-3),(18.75,-3),(18.8,-3.05),(18.8,-3.3),(18.75,-3.35)],
  [(18.9,-3.35),(18.85,-3.3),(18.85,-3.05),(18.925,-3.05),(18.9,-3.075),(18.9,-3.275),(18.925,-3.3),(19.025,-3.3),(19.05,-3.275),(19.05,-3.075),(19.025,-3.05),(18.85,-3.05),(18.9,-3),(19.05,-3),(19.1,-3.05),(19.1,-3.3),(19.05,-3.35)],
  [(19.2,-3.35),(19.15,-3.3),(19.15,-3.2),(19.225,-3.2),(19.2,-3.225),(19.2,-3.275),(19.225,-3.3),(19.35,-3.3),(19.35,-3.2),(19.15,-3.2),(19.2,-3.15),(19.2,-3.125),(19.15,-3.075),(19.15,-3),(19.2,-3),(19.2,-3.05),(19.3,-3.15),(19.35,-3.15),(19.35,-3),(19.4,-3),(19.4,-3.35)],
  [(19.5,-3.35),(19.45,-3.3),(19.45,-3.2),(19.525,-3.2),(19.5,-3.225),(19.5,-3.275),(19.525,-3.3),(19.65,-3.3),(19.65,-3.2),(19.45,-3.2),(19.5,-3.15),(19.65,-3.15),(19.65,-3),(19.7,-3),(19.7,-3.35)],
  [(20.1,-3.35),(20.05,-3.3),(20.05,-3.2),(20.125,-3.2),(20.1,-3.225),(20.1,-3.275),(20.125,-3.3),(20.25,-3.3),(20.25,-3.2),(20.05,-3.2),(20.1,-3.15),(20.1,-3.125),(20.05,-3.075),(20.05,-3),(20.1,-3),(20.1,-3.05),(20.2,-3.15),(20.25,-3.15),(20.25,-3),(20.3,-3),(20.3,-3.35)],
  [(20.4,-3.35),(20.35,-3.3),(20.35,-3.05),(20.425,-3.05),(20.4,-3.075),(20.4,-3.275),(20.425,-3.3),(20.525,-3.3),(20.55,-3.275),(20.55,-3.075),(20.525,-3.05),(20.35,-3.05),(20.4,-3),(20.55,-3),(20.6,-3.05),(20.6,-3.3),(20.55,-3.35)],
  [(20.65,-3.35),(20.65,-3.3),(20.85,-3.3),(20.85,-3.2),(20.75,-3.2),(20.75,-3.15),(20.85,-3.15),(20.85,-3),(20.9,-3),(20.9,-3.35)],
  [(21.25,-3.35),(21.25,-3.3),(21.35,-3.3),(21.35,-3),(21.4,-3),(21.4,-3.3),(21.5,-3.3),(21.5,-3.35)],
  [(21.55,-3.35),(21.55,-3),(21.6,-3),(21.6,-3.125),(21.725,-3.25),(21.75,-3.25),(21.75,-3),(21.8,-3),(21.8,-3.35),(21.75,-3.35),(21.625,-3.225),(21.6,-3.225),(21.6,-3.35)],
  [(21.85,-3.35),(21.85,-3.05),(21.9,-3),(22.05,-3),(22.1,-3.05),(22.1,-3.35),(22.05,-3.35),(22.05,-3.075),(22.025,-3.05),(21.925,-3.05),(21.9,-3.075),(21.9,-3.35)],
  [(22.2,-3.35),(22.15,-3.3),(22.15,-3.05),(22.225,-3.05),(22.2,-3.075),(22.2,-3.275),(22.225,-3.3),(22.325,-3.3),(22.35,-3.275),(22.35,-3.075),(22.325,-3.05),(22.15,-3.05),(22.2,-3),(22.35,-3),(22.4,-3.05),(22.4,-3.3),(22.35,-3.35)],
  [(22.5,-3.35),(22.45,-3.3),(22.45,-3.25),(22.5,-3.25),(22.5,-3.275),(22.525,-3.3),(22.625,-3.3),(22.65,-3.275),(22.65,-3.075),(22.625,-3.05),(22.525,-3.05),(22.5,-3.075),(22.5,-3.1),(22.45,-3.1),(22.45,-3.05),(22.5,-3),(22.65,-3),(22.7,-3.05),(22.7,-3.3),(22.65,-3.35)],
  [(22.8,-3.35),(22.75,-3.3),(22.75,-3.25),(22.8,-3.25),(22.8,-3.275),(22.825,-3.3),(22.925,-3.3),(22.95,-3.275),(22.95,-3.075),(22.925,-3.05),(22.825,-3.05),(22.8,-3.075),(22.8,-3.1),(22.75,-3.1),(22.75,-3.05),(22.8,-3),(22.95,-3),(23,-3.05),(23,-3.3),(22.95,-3.35)],
  [(23.125,-3.35),(23.05,-3.275),(23.05,-3.175),(23.1,-3.175),(23.1,-3.25),(23.15,-3.3),(23.2,-3.3),(23.25,-3.25),(23.25,-3.175),(23.05,-3.175),(23.05,-3),(23.1,-3),(23.1,-3.125),(23.25,-3.125),(23.25,-3),(23.3,-3),(23.3,-3.275),(23.225,-3.35)],
  [(23.7,-3.35),(23.65,-3.3),(23.65,-3.05),(23.725,-3.05),(23.7,-3.075),(23.7,-3.275),(23.725,-3.3),(23.825,-3.3),(23.85,-3.275),(23.85,-3.075),(23.825,-3.05),(23.65,-3.05),(23.7,-3),(23.85,-3),(23.9,-3.05),(23.9,-3.3),(23.85,-3.35)],
  [(23.95,-3.35),(23.95,-3.3),(24.05,-3.3),(24.05,-3),(24.1,-3),(24.1,-3.3),(24.2,-3.3),(24.2,-3.35)],
  [(24.55,-3.35),(24.55,-3.275),(24.65,-3.175),(24.65,-3),(24.7,-3),(24.7,-3.175),(24.8,-3.275),(24.8,-3.35),(24.75,-3.35),(24.75,-3.3),(24.675,-3.225),(24.6,-3.3),(24.6,-3.35)],
  [(24.9,-3.35),(24.85,-3.3),(24.85,-3.2),(24.925,-3.2),(24.9,-3.225),(24.9,-3.275),(24.925,-3.3),(25.05,-3.3),(25.05,-3.2),(24.85,-3.2),(24.9,-3.15),(24.9,-3.125),(24.85,-3.075),(24.85,-3),(24.9,-3),(24.9,-3.05),(25,-3.15),(25.05,-3.15),(25.05,-3),(25.1,-3),(25.1,-3.35)],
  [(25.225,-3.35),(25.15,-3.275),(25.15,-3.075),(25.175,-3.05),(25.25,-3.05),(25.2,-3.1),(25.2,-3.25),(25.25,-3.3),(25.35,-3.3),(25.35,-3.05),(25.175,-3.05),(25.225,-3),(25.4,-3),(25.4,-3.35)],
  [(25.45,-3.35),(25.45,-3),(25.5,-3),(25.5,-3.125),(25.625,-3.25),(25.65,-3.25),(25.65,-3),(25.7,-3),(25.7,-3.35),(25.65,-3.35),(25.525,-3.225),(25.5,-3.225),(25.5,-3.35)],
  [(25.75,-3.35),(25.75,-3.05),(25.8,-3),(25.95,-3),(26,-3.05),(26,-3.35),(25.95,-3.35),(25.95,-3.075),(25.925,-3.05),(25.825,-3.05),(25.8,-3.075),(25.8,-3.35)],
  [(26.1,-3.35),(26.05,-3.3),(26.05,-3.05),(26.125,-3.05),(26.1,-3.075),(26.1,-3.275),(26.125,-3.3),(26.225,-3.3),(26.25,-3.275),(26.25,-3.075),(26.225,-3.05),(26.05,-3.05),(26.1,-3),(26.25,-3),(26.3,-3.05),(26.3,-3.3),(26.25,-3.35)],
  [(26.35,-3.35),(26.35,-3.3),(26.55,-3.3),(26.55,-3.2),(26.45,-3.2),(26.45,-3.15),(26.55,-3.15),(26.55,-3),(26.6,-3),(26.6,-3.35)],
  [(26.95,-3.35),(26.95,-3.275),(27.05,-3.175),(27.05,-3),(27.1,-3),(27.1,-3.175),(27.2,-3.275),(27.2,-3.35),(27.15,-3.35),(27.15,-3.3),(27.075,-3.225),(27,-3.3),(27,-3.35)],
  [(27.3,-3.35),(27.25,-3.3),(27.25,-3.2),(27.325,-3.2),(27.3,-3.225),(27.3,-3.275),(27.325,-3.3),(27.45,-3.3),(27.45,-3.2),(27.25,-3.2),(27.275,-3.175),(27.25,-3.15),(27.25,-3.05),(27.325,-3.05),(27.3,-3.075),(27.3,-3.125),(27.325,-3.15),(27.45,-3.15),(27.45,-3.05),(27.25,-3.05),(27.3,-3),(27.5,-3),(27.5,-3.35)],
  [(27.925,-3.35),(27.85,-3.275),(27.85,-3.075),(27.875,-3.05),(27.95,-3.05),(27.9,-3.1),(27.9,-3.25),(27.95,-3.3),(28.05,-3.3),(28.05,-3.05),(27.875,-3.05),(27.925,-3),(28.1,-3),(28.1,-3.35)],
  [(28.15,-3.35),(28.15,-3.3),(28.35,-3.3),(28.35,-3.2),(28.25,-3.2),(28.25,-3.15),(28.35,-3.15),(28.35,-3.05),(28.15,-3.05),(28.15,-3),(28.4,-3),(28.4,-3.35)],
  [(28.5,-3.35),(28.45,-3.3),(28.45,-3.25),(28.5,-3.25),(28.5,-3.275),(28.525,-3.3),(28.625,-3.3),(28.65,-3.275),(28.65,-3.075),(28.625,-3.05),(28.525,-3.05),(28.5,-3.075),(28.5,-3.1),(28.45,-3.1),(28.45,-3.05),(28.5,-3),(28.65,-3),(28.7,-3.05),(28.7,-3.3),(28.65,-3.35)],
  [(28.825,-3.35),(28.75,-3.275),(28.75,-3.175),(28.8,-3.175),(28.8,-3.25),(28.85,-3.3),(28.9,-3.3),(28.95,-3.25),(28.95,-3.175),(28.75,-3.175),(28.75,-3),(28.8,-3),(28.8,-3.125),(28.95,-3.125),(28.95,-3),(29,-3),(29,-3.275),(28.925,-3.35)],
  [(29.25,-3.35),(29.25,-3.05),(29.05,-3.05),(29.05,-3),(29.3,-3),(29.3,-3.35)],
  [(29.4,-3.35),(29.35,-3.3),(29.35,-3.2),(29.425,-3.2),(29.4,-3.225),(29.4,-3.275),(29.425,-3.3),(29.55,-3.3),(29.55,-3.2),(29.35,-3.2),(29.4,-3.15),(29.55,-3.15),(29.55,-3),(29.6,-3),(29.6,-3.35)],
  [(29.65,-3.35),(29.65,-3.3),(29.85,-3.3),(29.85,-3.2),(29.75,-3.2),(29.75,-3.15),(29.85,-3.15),(29.85,-3.05),(29.65,-3.05),(29.65,-3),(29.9,-3),(29.9,-3.35)],
  [(30,-3.35),(29.95,-3.3),(29.95,-3.2),(30.025,-3.2),(30,-3.225),(30,-3.275),(30.025,-3.3),(30.15,-3.3),(30.15,-3.2),(29.95,-3.2),(30,-3.15),(30,-3.125),(29.95,-3.075),(29.95,-3),(30,-3),(30,-3.05),(30.1,-3.15),(30.15,-3.15),(30.15,-3),(30.2,-3),(30.2,-3.35)],
  [(30.55,-3.35),(30.55,-3.3),(30.75,-3.3),(30.75,-3.2),(30.65,-3.2),(30.65,-3.15),(30.75,-3.15),(30.75,-3.05),(30.55,-3.05),(30.55,-3),(30.8,-3),(30.8,-3.35)],
  [(30.9,-3.35),(30.85,-3.3),(30.85,-3.2),(30.925,-3.2),(30.9,-3.225),(30.9,-3.275),(30.925,-3.3),(31.05,-3.3),(31.05,-3.2),(30.85,-3.2),(30.875,-3.175),(30.85,-3.15),(30.85,-3.05),(30.925,-3.05),(30.9,-3.075),(30.9,-3.125),(30.925,-3.15),(31.05,-3.15),(31.05,-3.05),(30.85,-3.05),(30.9,-3),(31.1,-3),(31.1,-3.35)],
  [(31.5,-3.35),(31.45,-3.3),(31.45,-3.05),(31.525,-3.05),(31.5,-3.075),(31.5,-3.275),(31.525,-3.3),(31.625,-3.3),(31.65,-3.275),(31.65,-3.075),(31.625,-3.05),(31.45,-3.05),(31.5,-3),(31.65,-3),(31.7,-3.05),(31.7,-3.3),(31.65,-3.35)],
  [(31.75,-3.35),(31.75,-3.3),(31.85,-3.3),(31.85,-3),(31.9,-3),(31.9,-3.3),(32,-3.3),(32,-3.35)])
gc_te1550.add(gdstk.Label('Component=ebeam_gc_te1550', (28,5), layer=68, texttype=0))
gc_te1550.add(gdstk.Label('Lumerical_INTERCONNECT_library=Design kits/ebeam', (29,7), layer=68, texttype=0))
gc_te1550.add(gdstk.Label('opt1', (0,0), layer=1, texttype=10))
gc_te1550.add(gdstk.Label('Ref: Yun Wang, Optics Express, 08/2014', (33,0), layer=10, texttype=0))
gc_te1550.add(gdstk.Label('http://dx.doi.org/10.1364/OE.22.020652', (33,2), layer=10, texttype=0))
gc_te1550.add(gdstk.Label('TE 1550 -31 deg', (33,-2), layer=10, texttype=0))

bend_euler_csstrip = lib.new_cell('bend_euler_CSstrip')
P(bend_euler_csstrip, Si, [(0,-0.25),(0,0.25),(1.655,0.269),(2.881,0.353),(3.952,0.52),(4.99,0.806),(5.731,1.113),(6.431,1.505),(7.575,2.425),(8.495,3.569),(8.887,4.269),(9.194,5.01),(9.48,6.048),(9.647,7.119),(9.731,8.345),(9.75,10),(10.25,10),(10.158,7.205),(10.023,6.224),(9.797,5.254),(9.457,4.312),(9.066,3.545),(8.5,2.715),(7.928,2.072),(7.285,1.5),(6.455,0.934),(5.688,0.543),(4.746,0.203),(3.776,-0.023),(2.795,-0.158)])
P(bend_euler_csstrip, DevRec, [(0,-0.75),(0,0.75),(2.697,0.837),(3.724,0.984),(4.466,1.163),(5.288,1.459),(5.95,1.797),(6.666,2.285),(7.221,2.779),(7.715,3.334),(8.203,4.05),(8.541,4.712),(8.837,5.534),(9.016,6.276),(9.163,7.303),(9.25,10),(10.75,10),(10.656,7.156),(10.488,5.989),(10.277,5.114),(9.915,4.111),(9.497,3.292),(8.893,2.406),(8.282,1.718),(7.594,1.107),(6.708,0.503),(5.889,0.085),(4.886,-0.277),(4.011,-0.488),(2.844,-0.656)])

straight_l43p5_n2_csxs_c = lib.new_cell('straight_L43p5_N2_CSxs_c8b8e980')
R(straight_l43p5_n2_csxs_c, Si, [(0,-0.25,43.5,0.25)])
R(straight_l43p5_n2_csxs_c, DevRec, [(0,-0.75,43.5,0.75)])

straight_l12p5_n2_csxs_c = lib.new_cell('straight_L12p5_N2_CSxs_c8b8e980')
R(straight_l12p5_n2_csxs_c, Si, [(0,-0.25,12.5,0.25)])
R(straight_l12p5_n2_csxs_c, DevRec, [(0,-0.75,12.5,0.75)])

unnamed_908 = lib.new_cell('Unnamed_908')
unnamed_908.add(gdstk.Reference(unnamed_906, (0,0)))
unnamed_908.add(gdstk.Reference(gc_te1550, (-53.5,-22.5), rotation=3*pi/2))
unnamed_908.add(gdstk.Reference(gc_te1550, (73.5,-22.5), rotation=3*pi/2))
unnamed_908.add(gdstk.Reference(bend_euler_csstrip, (-53.5,-10), rotation=pi/2, x_reflection=True))
unnamed_908.add(gdstk.Reference(straight_l43p5_n2_csxs_c, (-43.5,0)))
unnamed_908.add(gdstk.Reference(straight_l12p5_n2_csxs_c, (-53.5,-10), rotation=3*pi/2))
unnamed_908.add(gdstk.Reference(bend_euler_csstrip, (73.5,-10), rotation=pi/2))
unnamed_908.add(gdstk.Reference(straight_l43p5_n2_csxs_c, (63.5,0), rotation=pi))
unnamed_908.add(gdstk.Reference(straight_l12p5_n2_csxs_c, (73.5,-10), rotation=3*pi/2))

lib.write_gds('Unnamed_908.gds')
